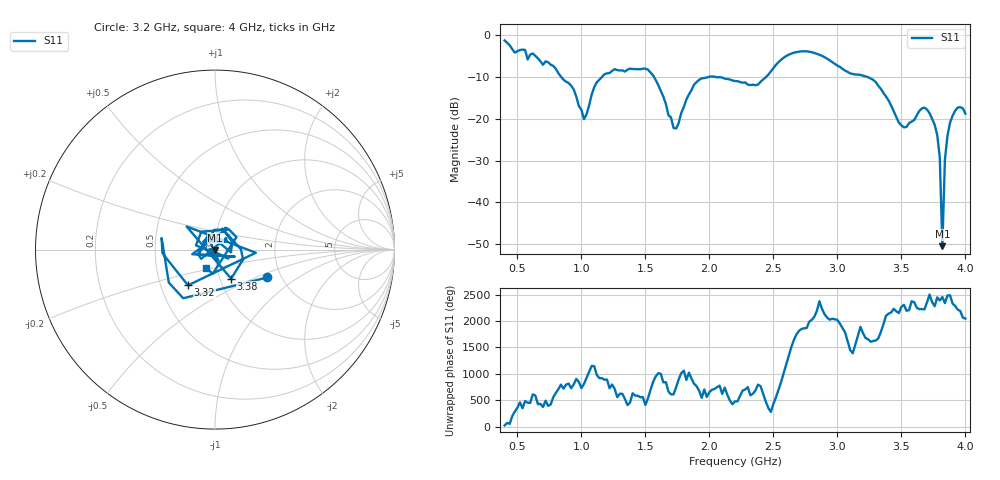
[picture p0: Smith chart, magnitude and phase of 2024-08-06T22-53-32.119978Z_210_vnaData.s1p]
!Created with skrf (http://scikit-rf.org).
# Hz S RI R 50.0
!freq ReS11 ImS11
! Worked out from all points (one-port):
!   181 points, 400 MHz to 4 GHz, reference 50 ohm
!   lowest |S11| = -50.5 dB at 3.82 GHz (marker M1), VSWR 1.01, Z = 50.1 - j0.275 ohm
!   |S11| at or under -10 dB: 1.568 GHz to 1.987 GHz (419.5 MHz wide, 23.6 % of centre); 2.083 GHz to 2.441 GHz (358.1 MHz wide, 15.8 % of centre); 3.24 GHz to end of sweep (the widest 3 of 5)
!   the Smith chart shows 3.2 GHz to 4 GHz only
!   S11 on the Smith chart (normalised r, x): 3.2 GHz: 1.69, -0.59; 3.32 GHz: 0.69, -0.29; 3.38 GHz: 1.13, -0.38; 4 GHz: 0.89, -0.19
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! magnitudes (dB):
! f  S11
! 400 MHz  -1.2
! 860 MHz  -10.6
! 940 MHz  -13.0
! 1.02 GHz  -20.1
! 1.12 GHz  -11.2
! 1.3 GHz  -8.4
! 1.52 GHz  -8.2
! 1.64 GHz  -14.7
! 1.72 GHz  -22.2
! 1.76 GHz  -21.0
! 1.92 GHz  -10.6
! 2.2 GHz  -10.9
! 2.38 GHz  -11.8
! 2.66 GHz  -4.1
! 3.1 GHz  -9.1
! 3.2 GHz  -9.6
! 3.32 GHz  -12.1
! 3.38 GHz  -14.6
! 3.48 GHz  -20.9
! 3.56 GHz  -21.0
! 3.68 GHz  -17.3
! 3.76 GHz  -21.4
! 3.8 GHz  -29.3
! 3.82 GHz  -50.5
! 3.84 GHz  -29.8
! 3.86 GHz  -24.0
! 3.92 GHz  -18.0
! 4 GHz  -18.7
